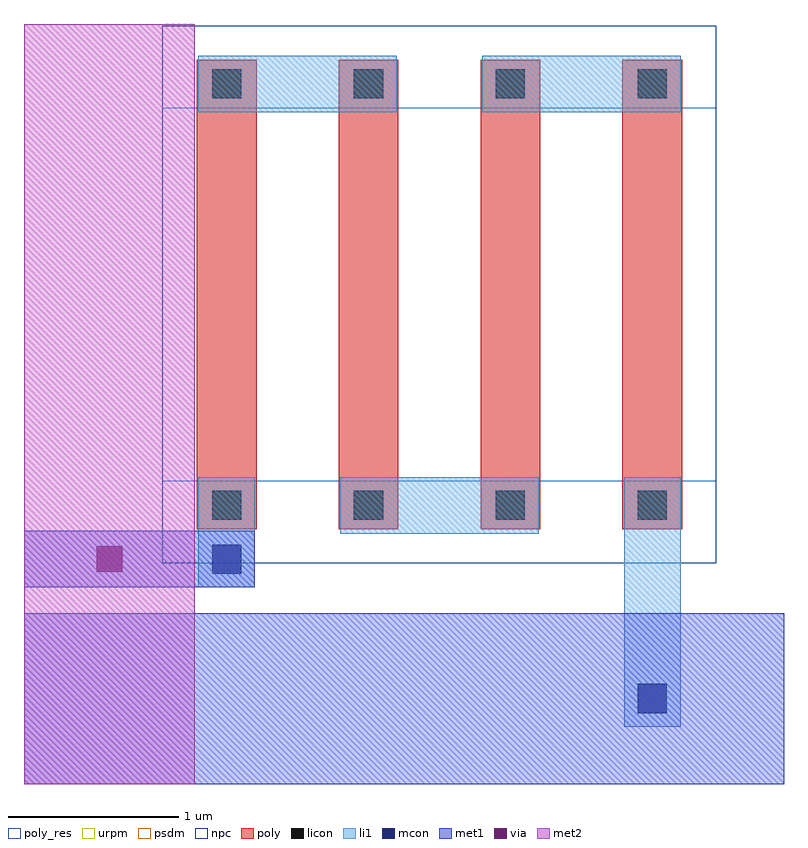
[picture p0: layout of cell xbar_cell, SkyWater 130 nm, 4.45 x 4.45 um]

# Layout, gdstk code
import gdstk
lib = gdstk.Library(unit=1e-6, precision=1e-09)
def R(c, l, rs):  # rectangles x0, y0, x1, y1
    for r in rs: c.add(gdstk.rectangle(r[:2], r[2:], *l))
def A(c, l, x, y, w, h, nx, ny, dx, dy):  # array of equal rectangles
    R(c, l, [(x+i*dx, y+j*dy, x+i*dx+w, y+j*dy+h) for i in range(nx) for j in range(ny)])
poly_res = (66, 13)
poly = (66, 20)
licon = (66, 44)
li1 = (67, 20)
mcon = (67, 44)
met1 = (68, 20)
via = (68, 44)
met2 = (69, 20)
urpm = (79, 20)
psdm = (94, 20)
npc = (95, 20)

xbar_cell = lib.new_cell('xbar_cell')
R(xbar_cell, poly_res, [(0.81,1.77,4.05,3.955)])
A(xbar_cell, poly, 1.01, 1.49, 0.35, 2.745, 4, 1, 0.83, 0)
A(xbar_cell, licon, 1.1, 1.545, 0.17, 0.17, 4, 2, 0.83, 2.465)
R(xbar_cell, li1, [(3.51,0.335,3.84,1.795), (1.02,1.15,1.35,1.795), (1.85,1.465,3.01,1.795), (1.02,3.93,2.18,4.26), (2.68,3.93,3.84,4.26)])
R(xbar_cell, mcon, [(3.59,0.415,3.76,0.585), (1.1,1.23,1.27,1.4)])
R(xbar_cell, met1, [(0,0,4.445,1), (0,1.15,1.35,1.48)])
R(xbar_cell, via, [(0.425,1.24,0.575,1.39)])
R(xbar_cell, met2, [(0,0,1,4.445)])
R(xbar_cell, urpm, [(0.81,1.29,4.05,4.435)])
R(xbar_cell, psdm, [(0.81,1.29,4.05,4.435)])
R(xbar_cell, npc, [(0.81,1.29,4.05,4.435)])

lib.write_gds('xbar_cell.gds')
